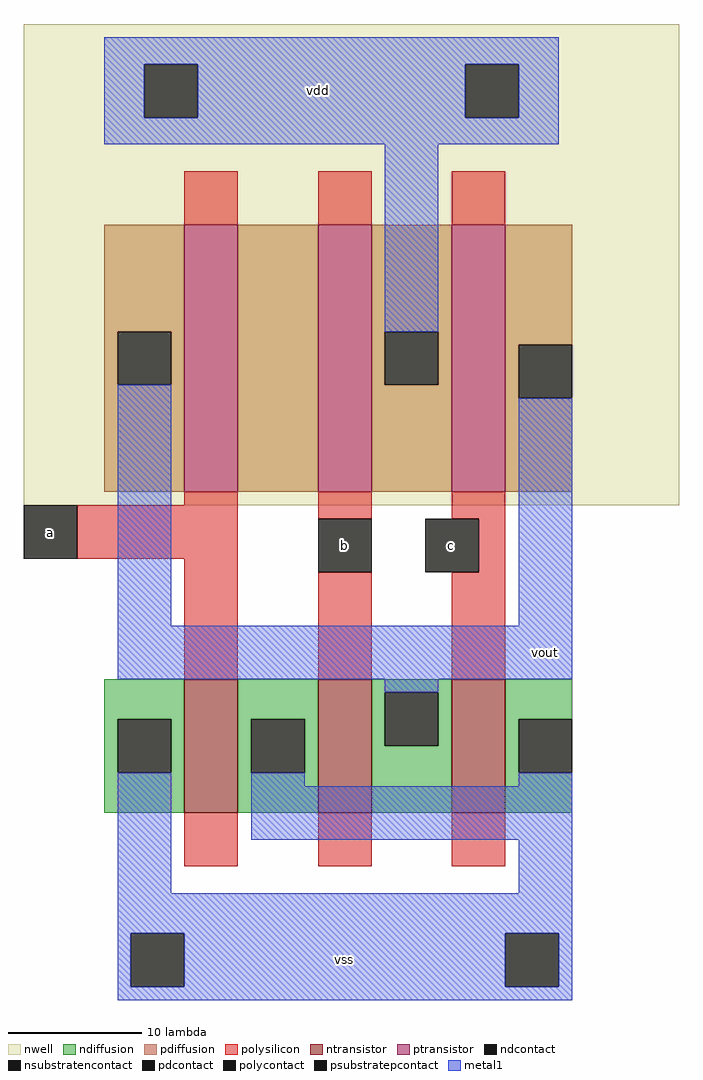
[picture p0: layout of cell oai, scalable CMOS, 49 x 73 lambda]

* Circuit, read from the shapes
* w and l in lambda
.subckt oai a b c vdd vout vss
M1 vss a vss vss nfet w=10 l=4
M2 vout b vss vss nfet w=10 l=4
M3 vss c vout vss nfet w=10 l=4
M4 n1 a vout vdd pfet w=20 l=4
M5 vdd b n1 vdd pfet w=20 l=4
M6 vout c vdd vdd pfet w=20 l=4
.ends

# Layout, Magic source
magic
tech scmos
<< nwell >>
rect -26 -1 23 35
<< polysilicon >>
rect -14 20 -10 24
rect -4 20 0 24
rect 6 20 10 24
rect -14 -1 -10 0
rect -22 -5 -10 -1
rect -14 -14 -10 -5
rect -4 -2 0 0
rect 6 -2 10 0
rect 8 -6 10 -2
rect -4 -14 0 -6
rect 6 -14 10 -6
rect -14 -28 -10 -24
rect -4 -28 0 -24
rect 6 -28 10 -24
<< ndiffusion >>
rect -20 -17 -14 -14
rect -20 -21 -19 -17
rect -15 -21 -14 -17
rect -20 -24 -14 -21
rect -10 -17 -4 -14
rect -10 -21 -9 -17
rect -5 -21 -4 -17
rect -10 -24 -4 -21
rect 0 -15 6 -14
rect 0 -19 1 -15
rect 5 -19 6 -15
rect 0 -24 6 -19
rect 10 -17 15 -14
rect 10 -21 11 -17
rect 10 -24 15 -21
<< pdiffusion >>
rect -20 12 -14 20
rect -20 8 -19 12
rect -15 8 -14 12
rect -20 0 -14 8
rect -10 0 -4 20
rect 0 12 6 20
rect 0 8 1 12
rect 5 8 6 12
rect 0 0 6 8
rect 10 11 15 20
rect 10 7 11 11
rect 10 0 15 7
<< metal1 >>
rect -20 32 14 34
rect -20 28 -17 32
rect -13 28 7 32
rect 11 28 14 32
rect -20 26 14 28
rect 1 12 5 26
rect -19 -10 -15 8
rect 11 -10 15 7
rect -19 -14 15 -10
rect 1 -15 5 -14
rect -19 -30 -15 -21
rect -9 -22 -5 -21
rect 11 -22 15 -21
rect -9 -26 15 -22
rect 11 -30 15 -26
rect -19 -33 15 -30
rect -19 -37 -18 -33
rect -14 -37 10 -33
rect 14 -37 15 -33
rect -19 -38 15 -37
<< ntransistor >>
rect -14 -24 -10 -14
rect -4 -24 0 -14
rect 6 -24 10 -14
<< ptransistor >>
rect -14 0 -10 20
rect -4 0 0 20
rect 6 0 10 20
<< polycontact >>
rect -26 -5 -22 -1
rect -4 -6 0 -2
rect 4 -6 8 -2
<< ndcontact >>
rect -19 -21 -15 -17
rect -9 -21 -5 -17
rect 1 -19 5 -15
rect 11 -21 15 -17
<< pdcontact >>
rect -19 8 -15 12
rect 1 8 5 12
rect 11 7 15 11
<< psubstratepcontact >>
rect -18 -37 -14 -33
rect 10 -37 14 -33
<< nsubstratencontact >>
rect -17 28 -13 32
rect 7 28 11 32
<< labels >>
rlabel metal1 -2 -35 -2 -35 5 vss
rlabel metal1 -4 30 -4 30 1 vdd
rlabel metal1 13 -12 13 -12 3 vout
rlabel polycontact -24 -3 -24 -3 7 a
rlabel polycontact -2 -4 -2 -4 7 b
rlabel polycontact 6 -4 6 -4 7 c
<< end >>
